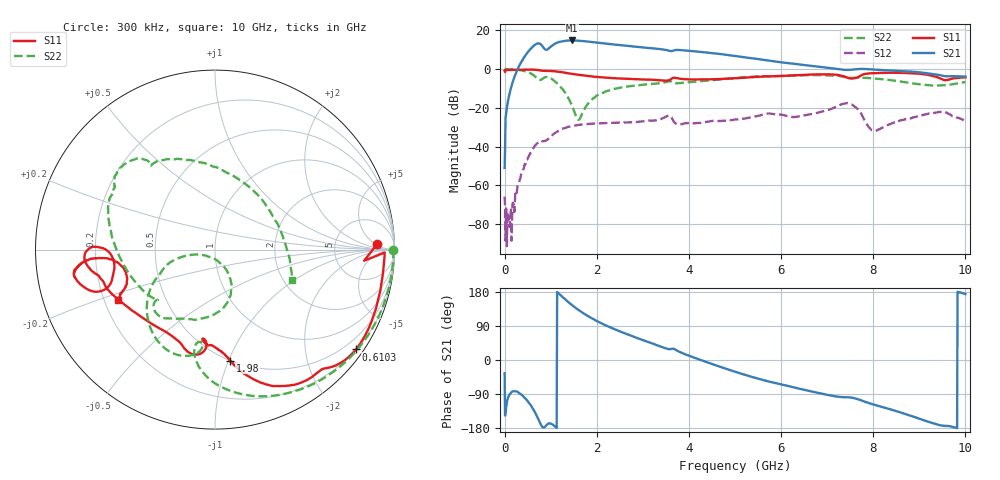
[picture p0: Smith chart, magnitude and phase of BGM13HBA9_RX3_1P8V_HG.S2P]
!Agilent Technologies,E5071C,MY46316587,B.13.01
!Date: Thu Dec 07 13:30:30 2017
!Data & Calibration Information:
!Freq	S11:SOLT2(ON)	S21:SOLT2(ON)	S12:SOLT2(ON)	S22:SOLT2(ON)
!PortZ  Port1:50+j0  Port2:50+j0
!Above PortZ is port z conversion or system Z0 setting when saving the data.
!When reading, reference impedance value at option line is always used.
# Hz S RI R 50
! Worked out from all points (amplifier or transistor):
!   1001 points, 300 kHz to 10 GHz, reference 50 ohm
!   highest |S21| = 14.7 dB at 1.46 GHz (marker M1)
!   |S21| within 3 dB of that: 1.013 GHz to 2.733 GHz (1.72 GHz wide, 91.8 % of centre)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
!   unconditionally stable (mu >= 1): start of sweep to 6.758 GHz; 7.292 GHz to end of sweep
!   at 1.66 GHz: K = 1.41, MAG = 17.8 dB, |S12| = -28.8 dB
!   at 5 GHz: K = 1.75, MAG = 11.4 dB, |S12| = -26.1 dB
!   at 10 GHz: K = 8.36, MAG = -0.8 dB, |S12| = -26.8 dB
!   lowest NFmin = 0.74 dB at 1.8 GHz
!   S11 on the Smith chart (normalised r, x): 300 kHz: 18, +6; 610.3 MHz: 0.21, -3.12; 1.98 GHz: 0.50, -1.02; 10 GHz: 0.26, -0.23
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300000  0.905 0.0324  0.00231 -0.00161  -0.000495 0.000129  0.9911 -0.000339
1.00297e8  0.9401 -0.0889  -0.00986 -0.2129  5.4e-05 -7.35e-05  0.9541 -0.2634
3.802886e8  0.8915 -0.3451  -0.0804 -1.658  -0.00201 -0.000652  0.4763 -0.7788
5.00285e8  0.8475 -0.4563  -0.8552 -2.55  -0.0049 -0.000849  0.186 -0.8118
6.102817e8  0.7845 -0.5566  -2.3 -2.977  -0.00858 0.000999  -0.039 -0.7145
7.502775e8  0.6635 -0.649  -4.311 -1.46  -0.0113 0.00696  -0.095 -0.5165
8.302751e8  0.6036 -0.6635  -3.728 -0.158  -0.00997 0.00936  -0.0804 -0.5606
9.102727e8  0.5656 -0.6892  -3.094 -0.4464  -0.0105 0.00988  -0.221 -0.5827
1.070268e9  0.4544 -0.7497  -4.277 -0.5404  -0.0142 0.016  -0.3801 -0.3308
1.250262e9  0.3208 -0.7602  -5.004 1.154  -0.0125 0.0255  -0.29 -0.1107
1.460256e9  0.2079 -0.7182  -4.457 3.114  -0.00565 0.0331  -0.1122 -0.027
1.67025e9  0.1397 -0.6738  -3.141 4.251  0.00163 0.0369  0.0154 -0.0637
1.980241e9  0.086 -0.6184  -1.195 4.69  0.0108 0.0378  0.0872 -0.1748
2.600222e9  0.0226 -0.5601  1.316 3.771  0.0209 0.0359  0.0254 -0.3432
3.3402e9  -0.0656 -0.5098  2.612 2.007  0.0296 0.0394  -0.1838 -0.3844
4.100177e9  -0.254 -0.472  2.845 0.3448  0.029 0.0272  -0.4165 -0.2113
5.00015e9  -0.4706 -0.3329  1.865 -1.118  0.0328 0.0375  -0.5769 0.0888
6.6701e9  -0.7138 -0.0852  0.1408 -1.189  0.0542 0.0421  -0.5338 0.4457
7.460076e9  -0.5833 -0.0222  -0.1391 -0.9363  0.1303 -0.0159  -0.3637 0.4832
7.980061e9  -0.7562 -0.1868  -0.4341 -0.8702  0.0242 -0.0102  -0.2855 0.499
8.34005e9  -0.7853 -0.1456  -0.579 -0.7124  0.0345 0.0128  -0.1502 0.5
1e10  -0.5395 -0.2813  -0.6338 0.0671  0.0304 -0.0343  0.4298 -0.1677
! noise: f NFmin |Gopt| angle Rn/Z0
1.8e+09  0.74  0.6488  59.76  0.1726
1.9e+09  0.7577  0.4311  62.89  0.1854
2e+09  0.7861  0.3486  66.06  0.1903
2.1e+09  0.8263  0.3916  69.35  0.2122
2.2e+09  0.8687  0.4246  73.43  0.1885
2.3e+09  0.8854  0.4303  75.17  0.1916
2.4e+09  0.9164  0.4207  79.23  0.1921
2.5e+09  0.9234  0.4489  82.23  0.1962
2.6e+09  0.9345  0.4879  83.99  0.196
2.7e+09  0.952  0.5005  80.92  0.2045
